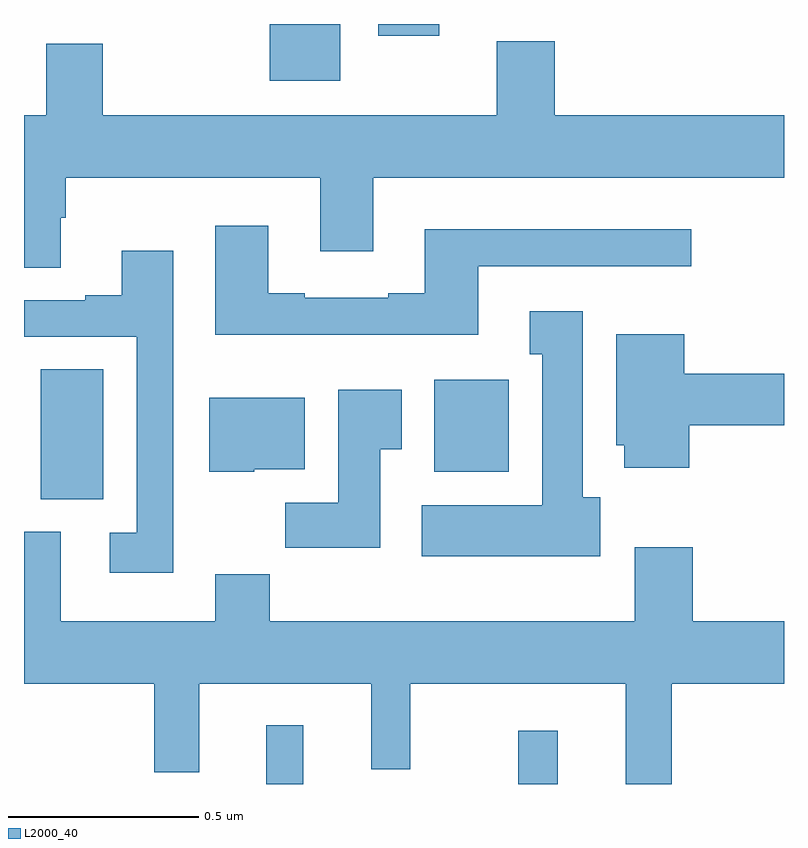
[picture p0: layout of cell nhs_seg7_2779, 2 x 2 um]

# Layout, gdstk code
import gdstk
lib = gdstk.Library(unit=1e-6, precision=1e-09)
def R(c, l, rs):  # rectangles x0, y0, x1, y1
    for r in rs: c.add(gdstk.rectangle(r[:2], r[2:], *l))
def P(c, l, *ps):  # polygons
    for p in ps: c.add(gdstk.Polygon(p, *l))
L2000_40 = (2000, 40)

nhs_seg7_2779 = lib.new_cell('nhs_seg7_2779')
R(nhs_seg7_2779, L2000_40, [(150.638,1019,150.735,1019.155), (151.301,1019,151.405,1019.14), (150.044,1019.749,150.208,1020.092), (151.079,1019.822,151.276,1020.064), (150.647,1020.851,150.832,1021), (150.932,1020.969,151.093,1021)])
P(nhs_seg7_2779, L2000_40, [(152,1020.76),(151.397,1020.76),(151.397,1020.955),(151.244,1020.955),(151.244,1020.76),(150.207,1020.76),(150.207,1020.948),(150.059,1020.948),(150.059,1020.76),(150,1020.76),(150,1020.358),(150.097,1020.358),(150.097,1020.49),(150.11,1020.49),(150.11,1020.596),(150.779,1020.596),(150.779,1020.402),(150.919,1020.402),(150.919,1020.596),(152,1020.596)],
  [(151.195,1020.363),(151.756,1020.363),(151.756,1020.46),(151.055,1020.46),(151.055,1020.292),(150.959,1020.292),(150.959,1020.279),(150.739,1020.279),(150.739,1020.292),(150.643,1020.292),(150.643,1020.469),(150.503,1020.469),(150.503,1020.182),(151.195,1020.182)],
  [(150.393,1020.403),(150.257,1020.403),(150.257,1020.286),(150.161,1020.286),(150.161,1020.273),(150,1020.273),(150,1020.177),(150.297,1020.177),(150.297,1019.661),(150.225,1019.661),(150.225,1019.556),(150.393,1019.556)],
  [(151.516,1019.754),(151.471,1019.754),(151.471,1020.244),(151.331,1020.244),(151.331,1020.131),(151.364,1020.131),(151.364,1019.734),(151.047,1019.734),(151.047,1019.6),(151.516,1019.6)],
  [(151.751,1019.944),(152,1019.944),(152,1020.08),(151.738,1020.08),(151.738,1020.184),(151.559,1020.184),(151.559,1019.892),(151.58,1019.892),(151.58,1019.832),(151.751,1019.832)],
  [(150.937,1019.881),(150.994,1019.881),(150.994,1020.037),(150.827,1020.037),(150.827,1019.74),(150.688,1019.74),(150.688,1019.622),(150.937,1019.622)],
  [(150.606,1019.828),(150.739,1019.828),(150.739,1020.016),(150.488,1020.016),(150.488,1019.822),(150.606,1019.822)],
  [(151.705,1019.264),(152,1019.264),(152,1019.428),(151.76,1019.428),(151.76,1019.623),(151.607,1019.623),(151.607,1019.428),(150.647,1019.428),(150.647,1019.552),(150.503,1019.552),(150.503,1019.428),(150.097,1019.428),(150.097,1019.664),(150,1019.664),(150,1019.264),(150.343,1019.264),(150.343,1019.031),(150.461,1019.031),(150.461,1019.264),(150.914,1019.264),(150.914,1019.039),(151.016,1019.039),(151.016,1019.264),(151.583,1019.264),(151.583,1019),(151.705,1019)])

lib.write_gds('nhs_seg7_2779.gds')
